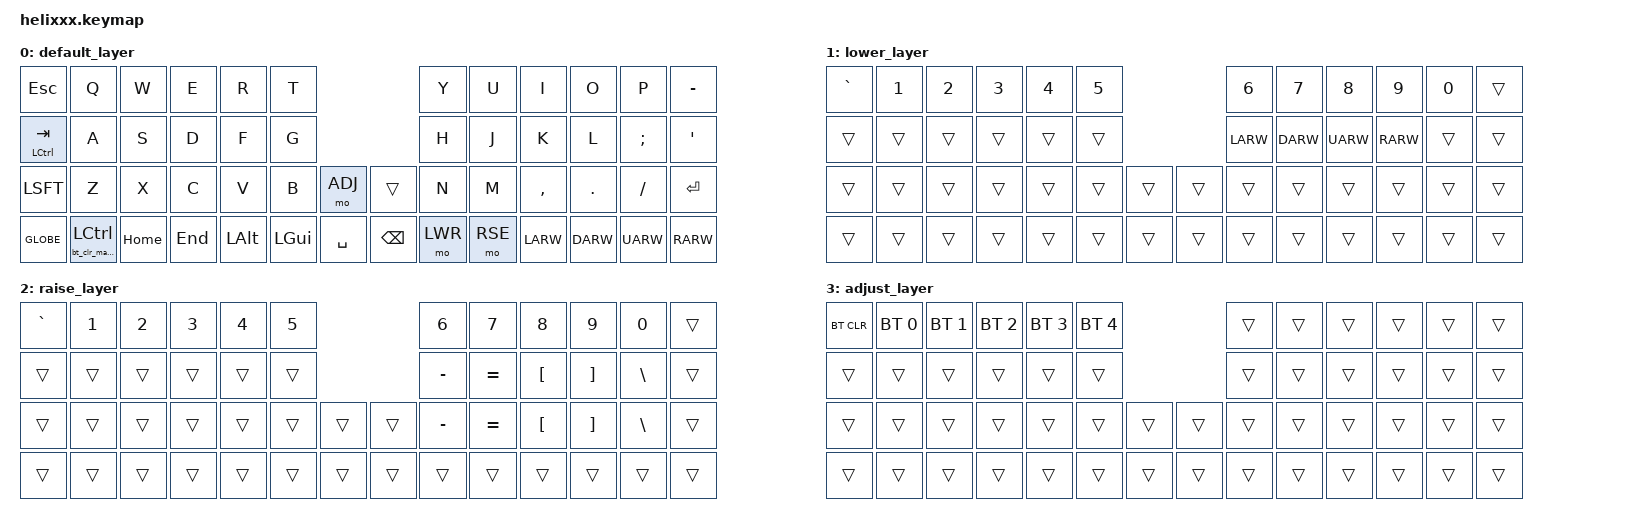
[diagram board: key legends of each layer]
/*
 * Copyright (c) 2020 The ZMK Contributors
 *
 * SPDX-License-Identifier: MIT
 */

 #include <behaviors.dtsi>
 #include <dt-bindings/zmk/keys.h>
 #include <dt-bindings/zmk/bt.h>
 #include <dt-bindings/zmk/rgb.h>
 #include <dt-bindings/zmk/ext_power.h>
 #include <dt-bindings/zmk/outputs.h>

 #define DEFAULT 0
 #define LWR     1
 #define RSE     2
 #define ADJ     3

/ {
       macros {
              // &bt takes two params so it can't be used directly inside a
              // hold-tap; wrap the BT pairing clear in a 0-param macro.
              bt_clr_macro: bt_clr_macro {
                     compatible = "zmk,behavior-macro";
                     #binding-cells = <0>;
                     bindings = <&bt BT_CLR>;
              };
       };

       behaviors {
              // Tap = the second param (a keycode); hold ~2s = clear the
              // current Bluetooth pairing. tap-preferred so a normal press
              // (or pressing other keys) never triggers the reset.
              // Invoke as: &btclr_ht 0 <tap-keycode>  (the 0 is a dummy
              // param for the 0-cell hold macro).
              btclr_ht: bt_clear_hold_tap {
                     compatible = "zmk,behavior-hold-tap";
                     #binding-cells = <2>;
                     tapping-term-ms = <2000>;
                     flavor = "tap-preferred";
                     bindings = <&bt_clr_macro>, <&kp>;
              };
       };

       keymap {
              compatible = "zmk,keymap";
 
              default_layer {
                     bindings = <
&kp ESC         &kp Q     &kp W     &kp E     &kp R    &kp T                               &kp Y     &kp U     &kp I      &kp O     &kp P      &kp MINUS 
&mt LCTL TAB    &kp A     &kp S     &kp D     &kp F    &kp G                               &kp H     &kp J     &kp K      &kp L     &kp SCLN   &kp QUOT
&kp LSFT        &kp Z     &kp X     &kp C     &kp V    &kp B      &mo ADJ      &trans      &kp N     &kp M     &kp CMMA   &kp DOT   &kp FSLH   &kp RET
&kp GLOBE       &btclr_ht 0 LCTL       &kp HOME  &kp END  &kp LALT  &kp LGUI  &kp SPC      &kp BKSP    &mo LWR   &mo RSE   &kp LARW   &kp DARW  &kp UARW   &kp RARW
                     >;
              };
              lower_layer {
                     bindings = <
&kp GRAV &kp N1    &kp N2    &kp N3    &kp N4    &kp N5                        &kp N6     &kp N7     &kp N8    &kp N9     &kp N0    &trans
&trans   &trans    &trans    &trans    &trans    &trans                        &kp LARW   &kp DARW   &kp UARW  &kp RARW   &trans    &trans
&trans   &trans    &trans    &trans    &trans    &trans    &trans    &trans    &trans     &trans     &trans    &trans     &trans    &trans
&trans   &trans    &trans    &trans    &trans    &trans    &trans    &trans    &trans     &trans     &trans    &trans     &trans    &trans
                     >;
              };
              raise_layer {
                     bindings = <
&kp GRAV &kp N1    &kp N2    &kp N3    &kp N4    &kp N5                        &kp N6      &kp N7    &kp N8    &kp N9     &kp N0     &trans
&trans   &trans    &trans    &trans    &trans    &trans                        &kp MINUS   &kp EQL   &kp LBKT  &kp RBKT   &kp BSLH   &trans
&trans   &trans    &trans    &trans    &trans    &trans    &trans    &trans    &kp MINUS   &kp EQL   &kp LBKT  &kp RBKT   &kp BSLH   &trans
&trans   &trans    &trans    &trans    &trans    &trans    &trans    &trans    &trans      &trans    &trans    &trans     &trans     &trans
                     >;
              };
              adjust_layer {
                     bindings = <
&bt BT_CLR   &bt BT_SEL 0 &bt BT_SEL 1 &bt BT_SEL 2 &bt BT_SEL 3 &bt BT_SEL 4                     &trans    &trans    &trans    &trans    &trans    &trans
&trans       &trans       &trans       &trans       &trans       &trans                           &trans    &trans    &trans    &trans    &trans    &trans
&trans       &trans       &trans       &trans       &trans       &trans       &trans    &trans    &trans    &trans    &trans    &trans    &trans    &trans
&trans       &trans       &trans       &trans       &trans       &trans       &trans    &trans    &trans    &trans    &trans    &trans    &trans    &trans
                     >;
              };
       };
};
